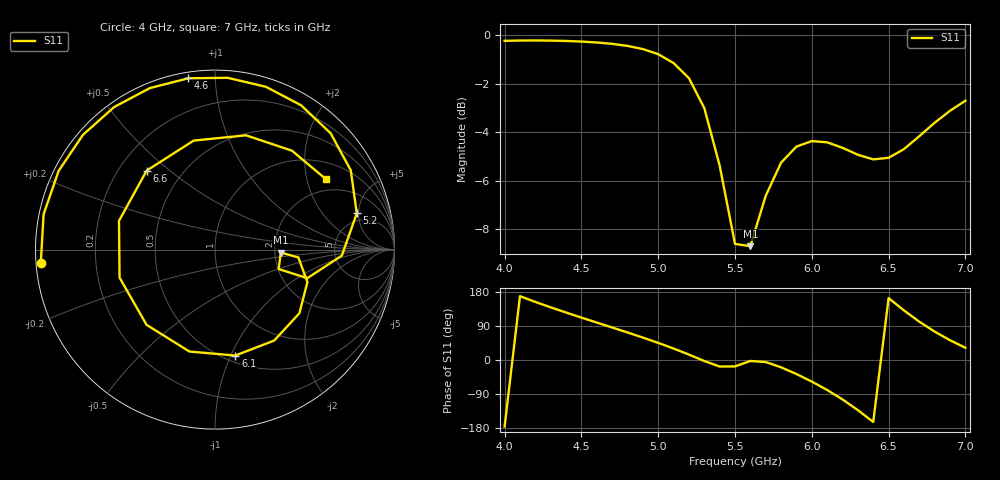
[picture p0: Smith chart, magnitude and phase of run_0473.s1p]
! Touchstone file exported from HFSS 2024.2.0
!  File:  C:/Users/wsak9/Desktop/Sim Fast/Widenad Patch/WP_AI_V1_sweep.aedt
!  Generated:  11:41:26 AM Oct 14, 2026
!  Design:  A1_model
!  Project:  WP_AI_V1_sweep
!  Setup:  Setup1
!  Solution:  Sweep
! Variables:
!  Air_gap = 2.43mm
!  Curve_Amp1 = 1.91
!  Curve_len1 = 1
!  Curve_pos = 10.02mm
!  Extra = 4.83mm
!  H_sub = 0.79mm
!  L_Patch = 16.04mm
!  L_Patch1 = 13.24mm
!  Sx = 3.48mm
!  Sy = 3.11mm
!  WS = 0.71mm
!  W_Patch = 18.32mm
!  W_Patch1 = 8.41mm
!Data is not renormalized
# GHz S MA
! Terminal data exported
! Port[1] = 1
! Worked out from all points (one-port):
!   31 points, 4 GHz to 7 GHz, reference per port
!   lowest |S11| = -8.7 dB at 5.6 GHz (marker M1), VSWR 2.16
!   |S11| at or under -10 dB: nowhere
!   S11 on the Smith chart (normalised r, x): 4 GHz: 0.01, -0.04; 4.6 GHz: 0.03, +0.86; 5.2 GHz: 3.95, +4.76; 6.1 GHz: 0.56, -1.04; 6.6 GHz: 0.31, +0.42; 7 GHz: 1.55, +2.62
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4  0.9736 -175.6
4.1  0.975 168.4
4.2  0.9753 153.3
4.4  0.973 125.3
4.6  0.966 98.8
4.8  0.9504 72.7
4.9  0.9363 59.2
5  0.9138 45.2
5.1  0.876 30.3
5.2  0.8154 14.3
5.3  0.7075 -2.7
5.4  0.5384 -17.2
5.5  0.3708 -17.0
5.6  0.3669 -2.5
5.7  0.4662 -5.4
5.8  0.5456 -19.3
5.9  0.5889 -37.0
6  0.6046 -57.0
6.1  0.601 -79.1
6.2  0.5856 -104.1
6.3  0.5665 -132.3
6.4  0.5542 -163.6
6.5  0.5584 163.3
6.6  0.582 130.9
6.7  0.6188 101.1
6.8  0.6597 74.9
6.9  0.6983 52.1
7  0.7324 32.3
